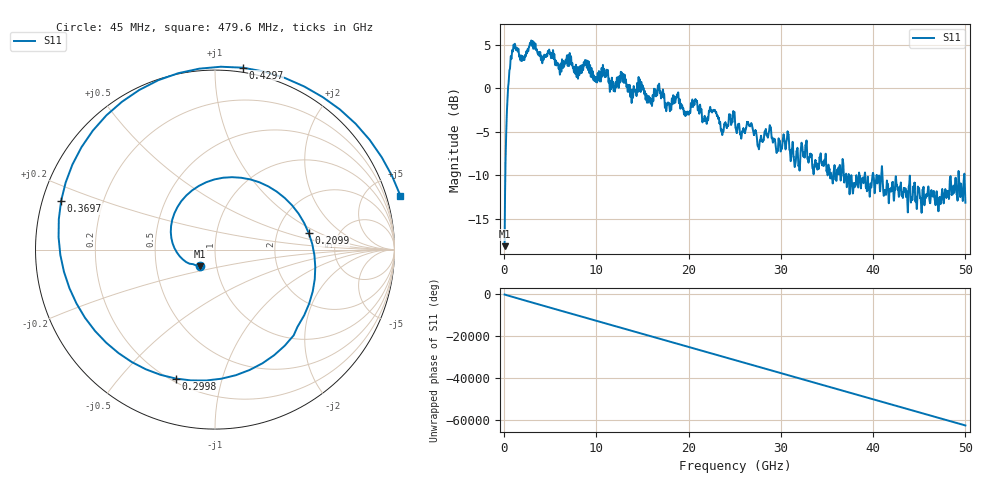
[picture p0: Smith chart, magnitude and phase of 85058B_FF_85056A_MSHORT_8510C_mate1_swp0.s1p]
!Created with skrf (http://scikit-rf.org).
# Hz S RI R 50.0
!freq ReS11 ImS11
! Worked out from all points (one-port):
!   10001 points, 45 MHz to 50 GHz, reference 50 ohm
!   lowest |S11| = -18.1 dB at 45 MHz (marker M1), VSWR 1.28, Z = 41.8 - j7.9 ohm
!   |S11| at or under -10 dB: 39.14 GHz to 39.93 GHz (788.5 MHz wide, 1.99 % of centre); 41 GHz to 49.23 GHz (8.237 GHz wide, 18.3 % of centre); 49.29 GHz to 49.86 GHz (571.7 MHz wide, 1.15 % of centre) (the widest 3 of 19)
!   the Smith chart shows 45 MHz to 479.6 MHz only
!   S11 on the Smith chart (normalised r, x): 45 MHz: 0.84, -0.16; 209.9 MHz: 3.04, +0.78; 299.8 MHz: 0.22, -0.72; 369.7 MHz: 0.05, +0.15; 429.7 MHz: -0.03, +1.16; 479.6 MHz: -1.71, +6.56
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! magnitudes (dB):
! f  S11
! 45 MHz  -18.1
! 209.9 MHz  -5.5
! 299.8 MHz  -2.5
! 369.7 MHz  -0.9
! 429.7 MHz  0.2
! 479.6 MHz  0.6
! 789.3 MHz  3.4
! 1.169 GHz  5.1
! 1.978 GHz  3.7
! 3.022 GHz  4.9
! 6.289 GHz  3.1
! 12.53 GHz  1.0
! 15.82 GHz  -1.1
! 18.78 GHz  -0.9
! 19.72 GHz  -2.7
! 20.74 GHz  -1.3
! 21.72 GHz  -3.2
! 22.8 GHz  -2.6
! 23.58 GHz  -4.9
! 25.02 GHz  -3.8
! 26.65 GHz  -4.3
! 27.59 GHz  -6.9
! 30.63 GHz  -6.0
! 31.27 GHz  -6.2
! 32.57 GHz  -7.9
! 37.51 GHz  -11.0
! 43.76 GHz  -14.3
! 50 GHz  -13.1
